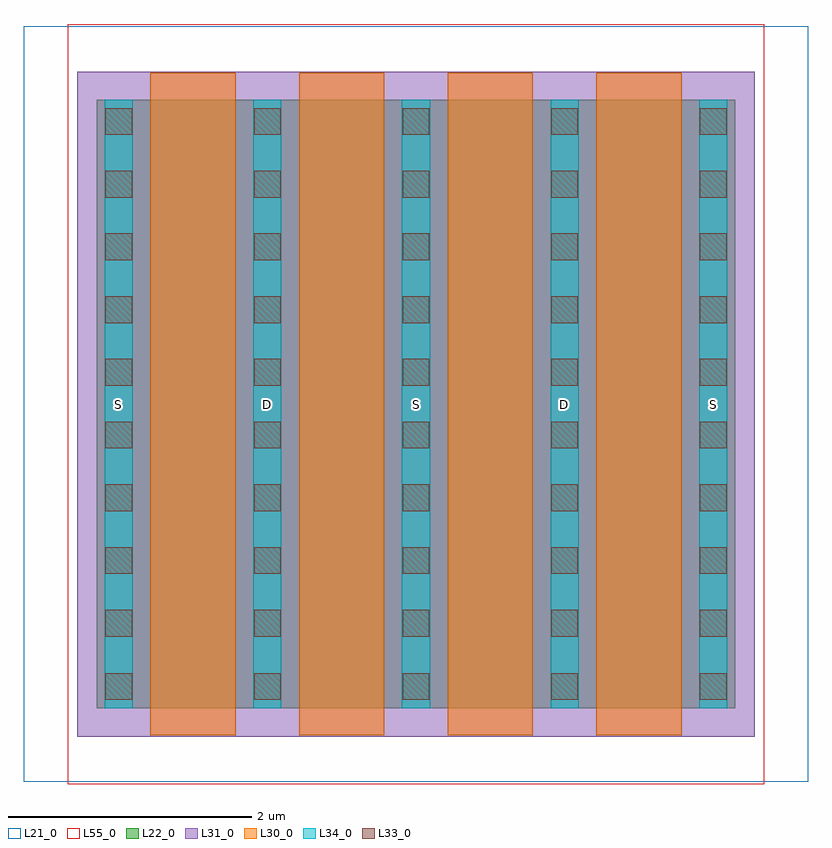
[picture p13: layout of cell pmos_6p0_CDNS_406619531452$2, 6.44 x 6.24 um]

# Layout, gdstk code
import gdstk
lib = gdstk.Library(unit=1e-6, precision=1e-09)
def R(c, l, rs):  # rectangles x0, y0, x1, y1
    for r in rs: c.add(gdstk.rectangle(r[:2], r[2:], *l))
def A(c, l, x, y, w, h, nx, ny, dx, dy):  # array of equal rectangles
    R(c, l, [(x+i*dx, y+j*dy, x+i*dx+w, y+j*dy+h) for i in range(nx) for j in range(ny)])
L21_0 = (21, 0)
L22_0 = (22, 0)
L30_0 = (30, 0)
L31_0 = (31, 0)
L33_0 = (33, 0)
L34_0 = (34, 0)
L55_0 = (55, 0)

pmos_6p0_cdns_4066195314 = lib.new_cell('pmos_6p0_CDNS_406619531452$2')
R(pmos_6p0_cdns_4066195314, L21_0, [(-1.04,-0.6,5.4,5.6)])
A(pmos_6p0_cdns_4066195314, L22_0, -0.44, 0, 0.36, 5, 5, 1, 1.22, 0)
R(pmos_6p0_cdns_4066195314, L22_0, [(-0.44,0,4.8,5)])
A(pmos_6p0_cdns_4066195314, L30_0, 0, -0.22, 0.7, 5.44, 4, 1, 1.22, 0)
A(pmos_6p0_cdns_4066195314, L30_0, 0, 5, 0.7, 0.22, 4, 1, 1.22, 0)
R(pmos_6p0_cdns_4066195314, L31_0, [(-0.6,-0.23,4.96,5.23)])
A(pmos_6p0_cdns_4066195314, L33_0, -0.37, 0.07, 0.22, 0.22, 5, 2, 1.22, 0.52)
A(pmos_6p0_cdns_4066195314, L33_0, -0.37, 1.105, 0.22, 0.22, 5, 8, 1.22, 0.515)
R(pmos_6p0_cdns_4066195314, L34_0, [(-0.375,0,-0.145,5), (-0.375,0,-0.145,5), (0.845,0,1.075,5), (0.845,0,1.075,5), (2.065,0,2.295,5), (2.065,0,2.295,5), (3.285,0,3.515,5), (3.285,0,3.515,5), (4.505,0,4.735,5), (4.505,0,4.735,5)])
R(pmos_6p0_cdns_4066195314, L55_0, [(-0.68,-0.62,5.04,5.62)])
pmos_6p0_cdns_4066195314.add(gdstk.Label('S', (-0.26,2.5), layer=34, texttype=0))
pmos_6p0_cdns_4066195314.add(gdstk.Label('S', (4.62,2.5), layer=34, texttype=0))
pmos_6p0_cdns_4066195314.add(gdstk.Label('D', (0.96,2.5), layer=34, texttype=0))
pmos_6p0_cdns_4066195314.add(gdstk.Label('S', (2.18,2.5), layer=34, texttype=0))
pmos_6p0_cdns_4066195314.add(gdstk.Label('D', (3.4,2.5), layer=34, texttype=0))

lib.write_gds('pmos_6p0_CDNS_406619531452_2.gds')
